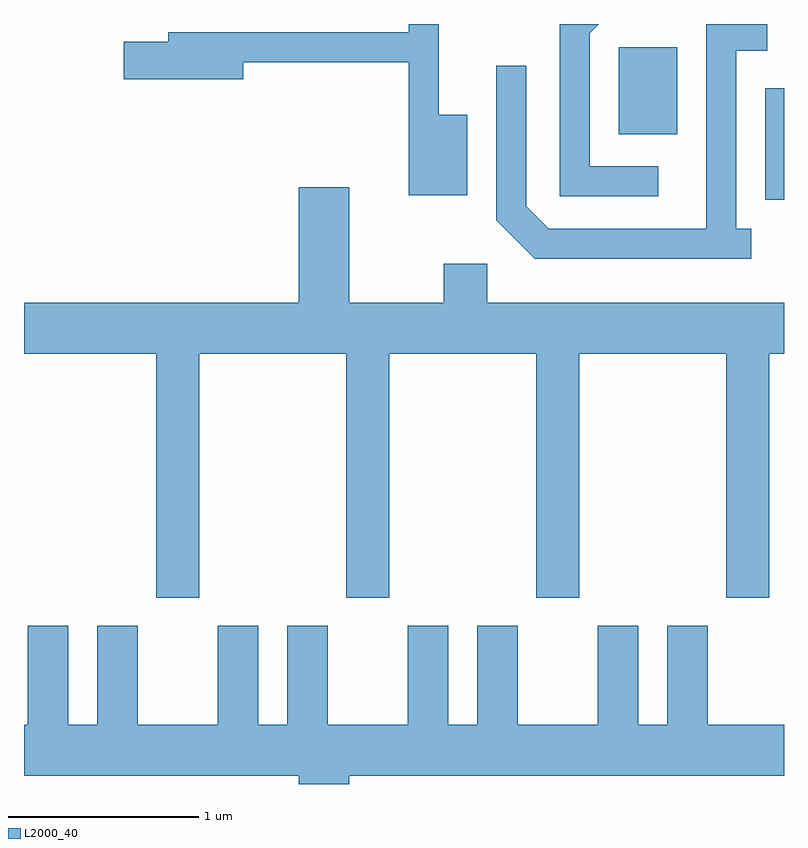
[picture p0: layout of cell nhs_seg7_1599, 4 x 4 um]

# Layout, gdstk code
import gdstk
lib = gdstk.Library(unit=1e-6, precision=1e-09)
def R(c, l, rs):  # rectangles x0, y0, x1, y1
    for r in rs: c.add(gdstk.rectangle(r[:2], r[2:], *l))
def P(c, l, *ps):  # polygons
    for p in ps: c.add(gdstk.Polygon(p, *l))
L2000_40 = (2000, 40)

nhs_seg7_1599 = lib.new_cell('nhs_seg7_1599')
R(nhs_seg7_1599, L2000_40, [(237.511,1737.326,237.611,1737.913), (236.741,1737.671,237.049,1738.129)])
P(nhs_seg7_1599, L2000_40, [(236.948,1737.504),(236.589,1737.504),(236.589,1738.204),(236.637,1738.252),(236.431,1738.252),(236.431,1737.346),(236.948,1737.346)],
  [(237.438,1737.174),(237.359,1737.174),(237.359,1738.111),(237.523,1738.111),(237.523,1738.252),(237.201,1738.252),(237.201,1737.174),(236.372,1737.174),(236.254,1737.292),(236.254,1738.033),(236.096,1738.033),(236.096,1737.219),(236.299,1737.016),(237.438,1737.016)],
  [(235.944,1737.774),(235.794,1737.774),(235.794,1738.252),(235.636,1738.252),(235.636,1738.209),(234.371,1738.209),(234.371,1738.159),(234.136,1738.159),(234.136,1737.961),(234.764,1737.961),(234.764,1738.051),(235.636,1738.051),(235.636,1737.351),(235.944,1737.351)],
  [(234.534,1736.516),(235.306,1736.516),(235.306,1735.231),(235.534,1735.231),(235.534,1736.516),(236.306,1736.516),(236.306,1735.231),(236.534,1735.231),(236.534,1736.516),(237.306,1736.516),(237.306,1735.231),(237.534,1735.231),(237.534,1736.516),(237.611,1736.516),(237.611,1736.784),(236.049,1736.784),(236.049,1736.989),(235.821,1736.989),(235.821,1736.784),(235.324,1736.784),(235.324,1737.394),(235.056,1737.394),(235.056,1736.784),(233.611,1736.784),(233.611,1736.516),(234.306,1736.516),(234.306,1735.231),(234.534,1735.231)],
  [(235.324,1734.296),(237.611,1734.296),(237.611,1734.564),(237.209,1734.564),(237.209,1735.084),(236.996,1735.084),(236.996,1734.564),(236.844,1734.564),(236.844,1735.084),(236.631,1735.084),(236.631,1734.564),(236.209,1734.564),(236.209,1735.084),(235.996,1735.084),(235.996,1734.564),(235.844,1734.564),(235.844,1735.084),(235.631,1735.084),(235.631,1734.564),(235.209,1734.564),(235.209,1735.084),(234.996,1735.084),(234.996,1734.564),(234.844,1734.564),(234.844,1735.084),(234.631,1735.084),(234.631,1734.564),(234.209,1734.564),(234.209,1735.084),(233.996,1735.084),(233.996,1734.564),(233.844,1734.564),(233.844,1735.084),(233.631,1735.084),(233.631,1734.564),(233.611,1734.564),(233.611,1734.296),(235.056,1734.296),(235.056,1734.252),(235.324,1734.252)])

lib.write_gds('nhs_seg7_1599.gds')
